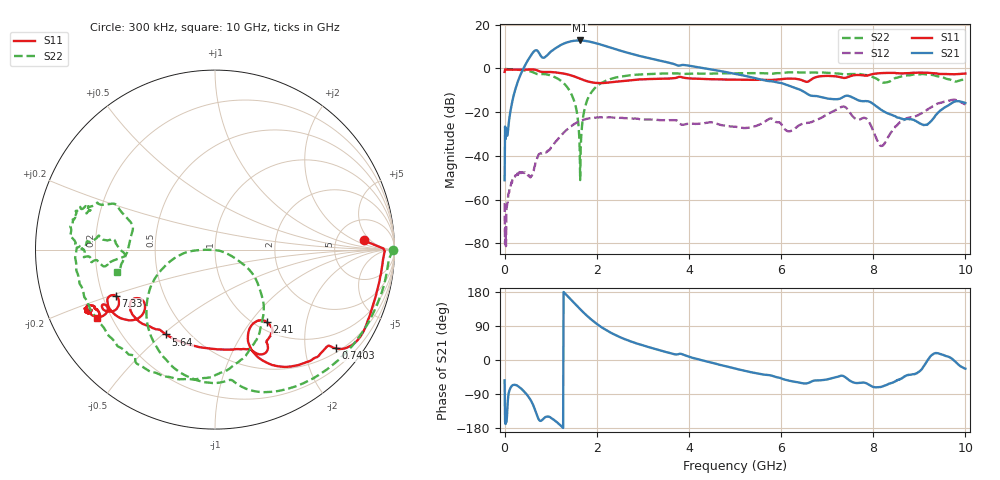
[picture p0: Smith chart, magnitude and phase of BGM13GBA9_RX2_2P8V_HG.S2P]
!Agilent Technologies,E5071C,MY46316587,B.13.01
!Date: Wed Dec 06 10:54:23 2017
!Data & Calibration Information:
!Freq	S11:SOLT2(ON)	S21:SOLT2(ON)	S12:SOLT2(ON)	S22:SOLT2(ON)
!PortZ  Port1:50+j0  Port2:50+j0
!Above PortZ is port z conversion or system Z0 setting when saving the data.
!When reading, reference impedance value at option line is always used.
# Hz S RI R 50
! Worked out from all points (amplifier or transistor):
!   1001 points, 300 kHz to 10 GHz, reference 50 ohm
!   highest |S21| = 12.8 dB at 1.63 GHz (marker M1)
!   |S21| within 3 dB of that: 1.144 GHz to 2.258 GHz (1.113 GHz wide, 65.4 % of centre)
!   unconditionally stable (mu >= 1): start of sweep to end of sweep
!   at 1.66 GHz: K = 1.34, MAG = 14.8 dB, |S12| = -23.9 dB
!   at 5 GHz: K = 4.17, MAG = 3.0 dB, |S12| = -26.7 dB
!   at 10 GHz: K = 5.73, MAG = -10.2 dB, |S12| = -16.5 dB
!   lowest NFmin = 0.68 dB at 1.65 GHz
!   S11 on the Smith chart (normalised r, x): 300 kHz: 10, +3; 740.3 MHz: 0.60, -2.69; 2.41 GHz: 1.13, -1.20; 5.64 GHz: 0.38, -0.51; 7.33 GHz: 0.25, -0.21; 10 GHz: 0.14, -0.26
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300000  0.8282 0.0511  0.00164 -0.00223  -0.0004 0.000725  0.9939 -0.00162
1.802946e8  0.9239 -0.1368  0.0823 -0.1858  0.000249 0.00295  0.875 -0.3667
4.502865e8  0.8731 -0.3335  0.0727 -1.205  0.00118 0.00383  0.5122 -0.735
6.202814e8  0.8095 -0.4855  -1.133 -2.046  -0.0028 0.00329  0.2053 -0.7855
7.402778e8  0.6727 -0.5498  -2.133 -0.9176  -0.00623 0.00878  0.0825 -0.7264
9.00273e8  0.6131 -0.5524  -1.636 -0.9471  -0.00586 0.0104  -0.1153 -0.7224
1.160265e9  0.4779 -0.6382  -3.072 -0.7283  -0.0158 0.0186  -0.37 -0.443
1.400258e9  0.3112 -0.6401  -3.916 1.088  -0.0195 0.0395  -0.3001 -0.1143
1.630251e9  0.2003 -0.5512  -3.096 3.058  -0.00745 0.0618  -0.0132 -0.0019
1.67025e9  0.1908 -0.5315  -2.811 3.3  -0.00346 0.0646  0.035 -0.00925
1.760247e9  0.1829 -0.4876  -2.104 3.674  0.00546 0.0689  0.1336 -0.0634
1.940242e9  0.2011 -0.4248  -0.7275 3.8  0.0236 0.0705  0.2507 -0.2259
2.410228e9  0.2871 -0.4027  1.133 2.496  0.0509 0.0546  0.1675 -0.5951
3.3402e9  0.2994 -0.4941  1.366 0.6794  0.0592 0.029  -0.2699 -0.7076
5.00015e9  -0.0447 -0.5489  0.6975 -0.2874  0.0433 0.0167  -0.7336 -0.2347
5.640131e9  -0.2733 -0.4726  0.416 -0.3344  0.0455 0.0391  -0.7714 0.000589
6.6701e9  -0.4256 -0.3814  0.1314 -0.1959  0.0378 0.0463  -0.7801 0.1903
7.33008e9  -0.5541 -0.2567  0.1622 -0.1438  0.1243 0.049  -0.7058 0.2232
8.160055e9  -0.6891 -0.362  0.037 -0.1092  0.0163 0.00456  -0.471 0.1547
8.34005e9  -0.7082 -0.3436  0.0417 -0.0812  0.00887 0.0275  -0.4945 -0.025
9.130026e9  -0.7242 -0.3323  0.0502 -0.00917  0.0374 0.0991  -0.7326 0.00367
1e10  -0.6599 -0.3813  0.1486 -0.0631  0.1484 0.0183  -0.5485 -0.1223
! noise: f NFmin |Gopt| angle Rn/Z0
1.1e+09  0.7687  0.5592  35.11  0.2637
1.15e+09  0.7527  0.549  36.52  0.2545
1.2e+09  0.7408  0.5416  37.72  0.2471
1.3e+09  0.736  0.5324  39.65  0.2372
1.35e+09  0.7278  0.5142  42.01  0.2282
1.4e+09  0.7188  0.5208  43.21  0.2298
1.5e+09  0.6817  0.5089  44.09  0.2225
1.55e+09  0.6777  0.5034  45.24  0.2229
1.6e+09  0.68  0.5015  47.06  0.2183
1.7e+09  0.6936  0.5087  49.67  0.2185
